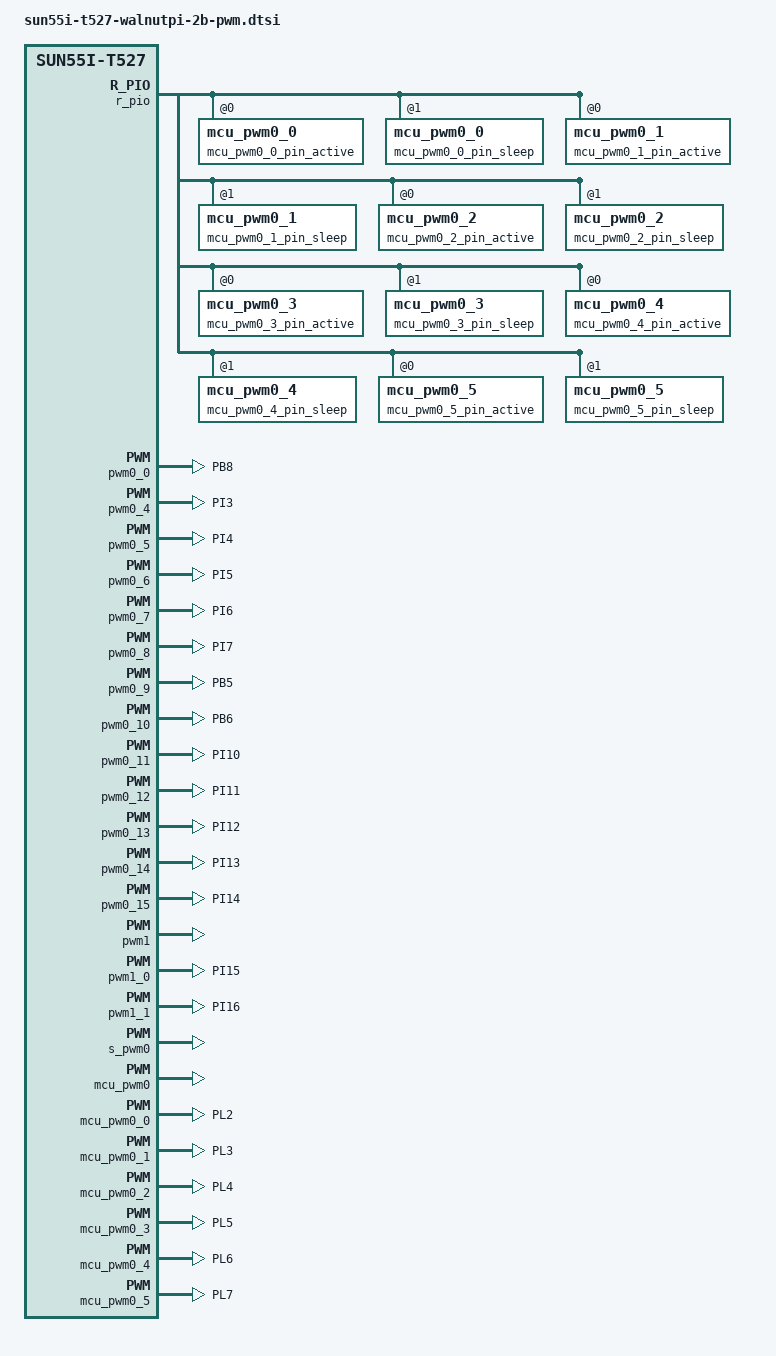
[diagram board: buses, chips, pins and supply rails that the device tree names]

&pio {
	pwm0_0_pin_active: pwm0_0@0 {
		pins = "PB8";
		function = "pwm0_0";
	};
	
	pwm0_0_pin_sleep: pwm0_0@1 {
		pins = "PB8";
		function = "gpio_in";
		bias-pull-down;
	};
	
	pwm0_1_pin_active: pwm0_1@0 {
		pins = "PI0";
		function = "pwm0_1";
	};
	
	pwm0_1_pin_sleep: pwm0_1@1 {
		pins = "PI0";
		function = "gpio_in";
		bias-pull-down;
	};
	
	pwm0_2_pin_active: pwm0_2@0 {
		pins = "PI1";
		function = "pwm0_2";
	};
	
	pwm0_2_pin_sleep: pwm0_2@1 {
		pins = "PI1";
		function = "gpio_in";
		bias-pull-down;
	};
	
	pwm0_3_pin_active: pwm0_3@0 {
		pins = "PI2";
		function = "pwm0_3";
	};
	
	pwm0_3_pin_sleep: pwm0_3@1 {
		pins = "PI2";
		function = "gpio_in";
		bias-pull-down;
	};
	
	pwm0_4_pin_active: pwm0_4@0 {
		pins = "PI3";
		function = "pwm0_4";
	};
	
	pwm0_4_pin_sleep: pwm0_4@1 {
		pins = "PI3";
		function = "gpio_in";
		bias-pull-down;
	};
	
	pwm0_5_pin_active: pwm0_5@0 {
		pins = "PI4";
		function = "pwm0_5";
	};
	
	pwm0_5_pin_sleep: pwm0_5@1 {
		pins = "PI4";
		function = "gpio_in";
		bias-pull-down;
	};
	pwm0_6_pin_active: pwm0_6@0 {
		pins = "PI5";
		function = "pwm0_6";
	};
	
	pwm0_6_pin_sleep: pwm0_6@1 {
		pins = "PI5";
		function = "gpio_in";
		bias-pull-down;
	};
	pwm0_7_pin_active: pwm0_7@0 {
		pins = "PI6";
		function = "pwm0_7";
	};
	
	pwm0_7_pin_sleep: pwm0_7@1 {
		pins = "PI6";
		function = "gpio_in";
		bias-pull-down;
	};
	pwm0_8_pin_active: pwm0_8@0 {
		pins = "PI7";
		function = "pwm0_8";
	};
	
	pwm0_8_pin_sleep: pwm0_8@1 {
		pins = "PI7";
		function = "gpio_in";
		bias-pull-down;
	};
	pwm0_9_pin_active: pwm0_9@0 {
		pins = "PB5";
		function = "pwm0_9";
	};
	
	pwm0_9_pin_sleep: pwm0_9@1 {
		pins = "PB5";
		function = "gpio_in";
		bias-pull-down;
	};
	pwm0_10_pin_active: pwm0_10@0 {
		pins = "PB6";
		function = "pwm0_10";
	};
	
	pwm0_10_pin_sleep: pwm0_10@1 {
		pins = "PB6";
		function = "gpio_in";
		bias-pull-down;
	};
	pwm0_11_pin_active: pwm0_11@0 {
		pins = "PI10";
		function = "pwm0_11";
	};
	
	pwm0_11_pin_sleep: pwm0_11@1 {
		pins = "PI10";
		function = "gpio_in";
		bias-pull-down;
	};
	pwm0_12_pin_active: pwm0_12@0 {
		pins = "PI11";
		function = "pwm0_12";
	};
	
	pwm0_12_pin_sleep: pwm0_12@1 {
		pins = "PI11";
		function = "gpio_in";
		bias-pull-down;
	};
	pwm0_13_pin_active: pwm0_13@0 {
		pins = "PI12";
		function = "pwm0_13";
	};
	
	pwm0_13_pin_sleep: pwm0_13@1 {
		pins = "PI12";
		function = "gpio_in";
		bias-pull-down;
	};
	pwm0_14_pin_active: pwm0_14@0 {
		pins = "PI13";
		function = "pwm0_14";
	};
	
	pwm0_14_pin_sleep: pwm0_14@1 {
		pins = "PI13";
		function = "gpio_in";
		bias-pull-down;
	};
	pwm0_15_pin_active: pwm0_15@0 {
		pins = "PI14";
		function = "pwm0_15";
	};
	
	pwm0_15_pin_sleep: pwm0_15@1 {
		pins = "PI14";
		function = "gpio_in";
		bias-pull-down;
	};
	
	pwm1_0_pin_active: pwm1_0@0 {
		pins = "PI15";
		function = "pwm1_0";
	};
	pwm1_0_pin_sleep: pwm01_0@1 {
		pins = "PI15";
		function = "gpio_in";
		bias-pull-down;
	};
	pwm1_1_pin_active: pwm1_1@0 {
		pins = "PI16";
		function = "pwm1_1";
	};
	
	pwm1_1_pin_sleep: pwm1_1@1 {
		pins = "PI16";
		function = "gpio_in";
		bias-pull-down;
	};
};
&r_pio {
	mcu_pwm0_0_pin_active: mcu_pwm0_0@0 {
		pins = "PL2";
		function = "mcu_pwm0_0";
	};
	mcu_pwm0_0_pin_sleep: mcu_pwm0_0@1 {
		pins = "PL2";
		function = "gpio_in";
		bias-pull-down;
	};
	mcu_pwm0_1_pin_active: mcu_pwm0_1@0 {
		pins = "PL3";
		function = "mcu_pwm0_1";
	};
	mcu_pwm0_1_pin_sleep: mcu_pwm0_1@1 {
		pins = "PL3";
		function = "gpio_in";
		bias-pull-down;
	};
	mcu_pwm0_2_pin_active: mcu_pwm0_2@0 {
		pins = "PL4";
		function = "mcu_pwm0_2";
	};
	mcu_pwm0_2_pin_sleep: mcu_pwm0_2@1 {
		pins = "PL4";
		function = "gpio_in";
		bias-pull-down;
	};
	mcu_pwm0_3_pin_active: mcu_pwm0_3@0 {
		pins = "PL5";
		function = "mcu_pwm0_3";
	};
	mcu_pwm0_3_pin_sleep: mcu_pwm0_3@1 {
		pins = "PL5";
		function = "gpio_in";
		bias-pull-down;
	};
	mcu_pwm0_4_pin_active: mcu_pwm0_4@0 {
		pins = "PL6";
		function = "mcu_pwm0_4";
	};
	mcu_pwm0_4_pin_sleep: mcu_pwm0_4@1 {
		pins = "PL6";
		function = "gpio_in";
		bias-pull-down;
	};
	
	mcu_pwm0_5_pin_active: mcu_pwm0_5@0 {
		pins = "PL7";
		function = "mcu_pwm0_5";
	};
	mcu_pwm0_5_pin_sleep: mcu_pwm0_5@1 {
		pins = "PL7";
		function = "gpio_in";
		bias-pull-down;
	};
};

&pwm0_0 {
	pinctrl-names = "active", "sleep";
	pinctrl-0 = <&pwm0_0_pin_active>;
	pinctrl-1 = <&pwm0_0_pin_sleep>;
	status = "okay";
};

&pwm0_1 {
	pinctrl-names = "active", "sleep";
	pinctrl-0 = <&pwm0_1_pin_active>;
	pinctrl-1 = <&pwm0_1_pin_sleep>;
	status = "disabled";
};

&pwm0_2 {
	pinctrl-names = "active", "sleep";
	pinctrl-0 = <&pwm0_2_pin_active>;
	pinctrl-1 = <&pwm0_2_pin_sleep>;
	status = "disabled";
};

&pwm0_3 {
	pinctrl-names = "active", "sleep";
	pinctrl-0 = <&pwm0_3_pin_active>;
	pinctrl-1 = <&pwm0_3_pin_sleep>;
	status = "disabled";
};

&pwm0_4 {
	pinctrl-names = "active", "sleep";
	pinctrl-0 = <&pwm0_4_pin_active>;
	pinctrl-1 = <&pwm0_4_pin_sleep>;
	status = "okay";
};

&pwm0_5 {
	pinctrl-names = "active", "sleep";
	pinctrl-0 = <&pwm0_5_pin_active>;
	pinctrl-1 = <&pwm0_5_pin_sleep>;
	status = "okay";
};
&pwm0_6 {
	pinctrl-names = "active", "sleep";
	pinctrl-0 = <&pwm0_6_pin_active>;
	pinctrl-1 = <&pwm0_6_pin_sleep>;
	status = "okay";
};
&pwm0_7 {
	pinctrl-names = "active", "sleep";
	pinctrl-0 = <&pwm0_7_pin_active>;
	pinctrl-1 = <&pwm0_7_pin_sleep>;
	status = "okay";
};
&pwm0_8 {
	pinctrl-names = "active", "sleep";
	pinctrl-0 = <&pwm0_8_pin_active>;
	pinctrl-1 = <&pwm0_8_pin_sleep>;
	status = "okay";
};
&pwm0_9 {
	pinctrl-names = "active", "sleep";
	pinctrl-0 = <&pwm0_9_pin_active>;
	pinctrl-1 = <&pwm0_9_pin_sleep>;
	status = "okay";
};
&pwm0_10 {
	pinctrl-names = "active", "sleep";
	pinctrl-0 = <&pwm0_10_pin_active>;
	pinctrl-1 = <&pwm0_10_pin_sleep>;
	status = "okay";
};
&pwm0_11 {
	pinctrl-names = "active", "sleep";
	pinctrl-0 = <&pwm0_11_pin_active>;
	pinctrl-1 = <&pwm0_11_pin_sleep>;
	status = "okay";
};
&pwm0_12 {
	pinctrl-names = "active", "sleep";
	pinctrl-0 = <&pwm0_12_pin_active>;
	pinctrl-1 = <&pwm0_12_pin_sleep>;
	status = "okay";
};
&pwm0_13 {
	pinctrl-names = "active", "sleep";
	pinctrl-0 = <&pwm0_13_pin_active>;
	pinctrl-1 = <&pwm0_13_pin_sleep>;
	status = "okay";
};
&pwm0_14 {
	pinctrl-names = "active", "sleep";
	pinctrl-0 = <&pwm0_14_pin_active>;
	pinctrl-1 = <&pwm0_14_pin_sleep>;
	status = "okay";
};
&pwm0_15 {
	pinctrl-names = "active", "sleep";
	pinctrl-0 = <&pwm0_15_pin_active>;
	pinctrl-1 = <&pwm0_15_pin_sleep>;
	status = "okay";
};


&pwm1 {
	status = "okay";
};
&pwm1_0 {
	pinctrl-names = "active", "sleep";
	pinctrl-0 = <&pwm1_0_pin_active>;
	pinctrl-1 = <&pwm1_0_pin_sleep>;
	status = "okay";
};
&pwm1_1 {
	pinctrl-names = "active", "sleep";
	pinctrl-0 = <&pwm1_1_pin_active>;
	pinctrl-1 = <&pwm1_1_pin_sleep>;
	status = "okay";
};



&s_pwm0 {
	status = "okay";
};
&mcu_pwm0 {
	status = "okay";
};
&mcu_pwm0_0 {
	pinctrl-names = "active", "sleep";
	pinctrl-0 = <&mcu_pwm0_0_pin_active>;
	pinctrl-1 = <&mcu_pwm0_0_pin_sleep>;
	status = "okay";
};
&mcu_pwm0_1 {
	pinctrl-names = "active", "sleep";
	pinctrl-0 = <&mcu_pwm0_1_pin_active>;
	pinctrl-1 = <&mcu_pwm0_1_pin_sleep>;
	status = "okay";
};
&mcu_pwm0_2 {
	pinctrl-names = "active", "sleep";
	pinctrl-0 = <&mcu_pwm0_2_pin_active>;
	pinctrl-1 = <&mcu_pwm0_2_pin_sleep>;
	status = "okay";
};
&mcu_pwm0_3 {
	pinctrl-names = "active", "sleep";
	pinctrl-0 = <&mcu_pwm0_3_pin_active>;
	pinctrl-1 = <&mcu_pwm0_3_pin_sleep>;
	status = "okay";
};
&mcu_pwm0_4 {
	pinctrl-names = "active", "sleep";
	pinctrl-0 = <&mcu_pwm0_4_pin_active>;
	pinctrl-1 = <&mcu_pwm0_4_pin_sleep>;
	status = "okay";
};
&mcu_pwm0_5 {
	pinctrl-names = "active", "sleep";
	pinctrl-0 = <&mcu_pwm0_5_pin_active>;
	pinctrl-1 = <&mcu_pwm0_5_pin_sleep>;
	status = "okay";
};
